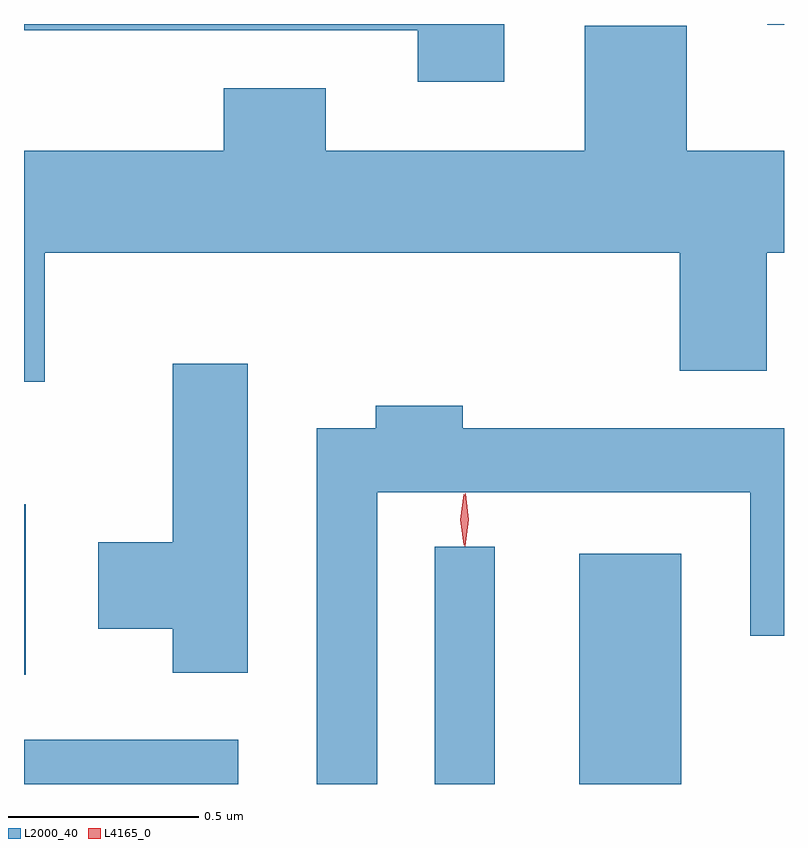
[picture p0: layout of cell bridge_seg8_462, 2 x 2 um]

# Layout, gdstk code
import gdstk
lib = gdstk.Library(unit=1e-6, precision=1e-09)
def R(c, l, rs):  # rectangles x0, y0, x1, y1
    for r in rs: c.add(gdstk.rectangle(r[:2], r[2:], *l))
def P(c, l, *ps):  # polygons
    for p in ps: c.add(gdstk.Polygon(p, *l))
L2000_40 = (2000, 40)
L4165_0 = (4165, 0)

bridge_seg8_462 = lib.new_cell('bridge_seg8_462')
R(bridge_seg8_462, L2000_40, [(531.255,1932.698,531.819,1932.814), (532.336,1932.698,532.494,1933.323), (532.716,1932.698,532.984,1933.304), (531.255,1932.986,531.259,1933.434), (533.211,1934.696,533.255,1934.698)])
P(bridge_seg8_462, L2000_40, [(532.519,1934.698),(531.255,1934.698),(531.255,1934.681),(532.291,1934.681),(532.291,1934.546),(532.519,1934.546)],
  [(531.309,1934.096),(532.981,1934.096),(532.981,1933.786),(533.209,1933.786),(533.209,1934.096),(533.255,1934.096),(533.255,1934.364),(532.999,1934.364),(532.999,1934.694),(532.731,1934.694),(532.731,1934.364),(532.049,1934.364),(532.049,1934.529),(531.781,1934.529),(531.781,1934.364),(531.255,1934.364),(531.255,1933.756),(531.309,1933.756)],
  [(531.844,1933.804),(531.646,1933.804),(531.646,1933.334),(531.451,1933.334),(531.451,1933.106),(531.646,1933.106),(531.646,1932.991),(531.844,1932.991)],
  [(532.184,1933.466),(533.166,1933.466),(533.166,1933.088),(533.255,1933.088),(533.255,1933.634),(532.409,1933.634),(532.409,1933.694),(532.181,1933.694),(532.181,1933.634),(532.026,1933.634),(532.026,1932.698),(532.184,1932.698)])
P(bridge_seg8_462, L4165_0, [(532.415,1933.324),(532.406,1933.394),(532.416,1933.462),(532.416,1933.463),(532.417,1933.462),(532.426,1933.393),(532.416,1933.324),(532.416,1933.324)],
  [(532.412,1933.327),(532.403,1933.394),(532.412,1933.46),(532.413,1933.461),(532.413,1933.46),(532.423,1933.394),(532.413,1933.327),(532.413,1933.327)])

lib.write_gds('bridge_seg8_462.gds')
